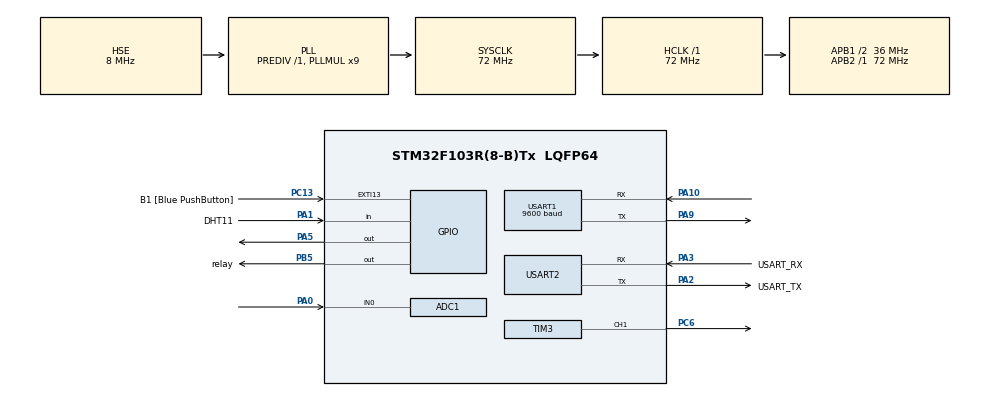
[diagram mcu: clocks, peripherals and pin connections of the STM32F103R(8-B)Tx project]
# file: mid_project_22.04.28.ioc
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ADC1.Channel-0\#ChannelRegularConversion=ADC_CHANNEL_0
ADC1.ContinuousConvMode=ENABLE
ADC1.NbrOfConversionFlag=1
ADC1.Rank-0\#ChannelRegularConversion=1
ADC1.SamplingTime-0\#ChannelRegularConversion=ADC_SAMPLETIME_28CYCLES_5
ADC1.master=1
Dma.Request0=TIM3_CH1/TRIG
Dma.TIM3_CH1/TRIG.0.Direction=DMA_MEMORY_TO_PERIPH
Dma.TIM3_CH1/TRIG.0.Instance=DMA1_Channel6
Dma.TIM3_CH1/TRIG.0.MemDataAlignment=DMA_MDATAALIGN_HALFWORD
Dma.TIM3_CH1/TRIG.0.MemInc=DMA_MINC_ENABLE
Dma.TIM3_CH1/TRIG.0.Mode=DMA_NORMAL
Dma.TIM3_CH1/TRIG.0.PeriphDataAlignment=DMA_PDATAALIGN_HALFWORD
Dma.TIM3_CH1/TRIG.0.PeriphInc=DMA_PINC_DISABLE
Dma.TIM3_CH1/TRIG.0.Priority=DMA_PRIORITY_LOW
Mcu.Family=STM32F1
Mcu.Name=STM32F103R(8-B)Tx
Mcu.Package=LQFP64
NVIC.ADC1_2_IRQn=true\:0\:0\:false\:false\:true\:true\:true\:true
NVIC.DMA1_Channel6_IRQn=true\:0\:0\:false\:false\:true\:false\:true\:true
NVIC.EXTI15_10_IRQn=true\:0\:0\:false\:false\:true\:true\:true\:true
NVIC.PriorityGroup=NVIC_PRIORITYGROUP_4
NVIC.TIM3_IRQn=true\:0\:0\:false\:false\:true\:true\:true\:true
NVIC.TIM4_IRQn=true\:0\:0\:false\:false\:true\:true\:true\:true
NVIC.USART1_IRQn=true\:0\:0\:false\:false\:true\:true\:true\:true
PA0-WKUP.Signal=ADCx_IN0
PA1.GPIO_Label=DHT11
PA1.GPIO_PuPd=GPIO_PULLUP
PA1.Signal=GPIO_Input
PA10.Mode=Asynchronous
PA10.Signal=USART1_RX
PA13.GPIO_Label=TMS
PA13.Mode=Serial_Wire
PA13.Signal=SYS_JTMS-SWDIO
PA14.GPIO_Label=TCK
PA14.Mode=Serial_Wire
PA14.Signal=SYS_JTCK-SWCLK
PA2.GPIO_Label=USART_TX
PA2.GPIO_Mode=GPIO_MODE_AF_PP
PA2.GPIO_PuPd=GPIO_NOPULL
PA2.GPIO_Speed=GPIO_SPEED_FREQ_LOW
PA2.Mode=Asynchronous
PA2.Signal=USART2_TX
PA3.GPIO_Label=USART_RX
PA3.GPIO_Mode=GPIO_MODE_AF_PP
PA3.GPIO_PuPd=GPIO_NOPULL
PA3.GPIO_Speed=GPIO_SPEED_FREQ_LOW
PA3.Mode=Asynchronous
PA3.Signal=USART2_RX
PA5.Signal=GPIO_Output
PA9.Mode=Asynchronous
PA9.Signal=USART1_TX
PB3.GPIO_Label=SWO
PB3.Signal=SYS_JTDO-TRACESWO
PB5.GPIO_Label=relay
PB5.Signal=GPIO_Output
PC13-TAMPER-RTC.GPIO_Label=B1 [Blue PushButton]
PC13-TAMPER-RTC.GPIO_PuPd=GPIO_NOPULL
PC13-TAMPER-RTC.Signal=GPXTI13
PC14-OSC32_IN.Mode=LSE-External-Oscillator
PC14-OSC32_IN.Signal=RCC_OSC32_IN
PC15-OSC32_OUT.Mode=LSE-External-Oscillator
PC15-OSC32_OUT.Signal=RCC_OSC32_OUT
PC6.Signal=S_TIM3_CH1
PD0-OSC_IN.Mode=HSE-External-Clock-Source
PD0-OSC_IN.Signal=RCC_OSC_IN
PD1-OSC_OUT.Mode=HSE-External-Clock-Source
PD1-OSC_OUT.Signal=RCC_OSC_OUT
ProjectManager.HeapSize=0x200
ProjectManager.StackSize=0x400
ProjectManager.TargetToolchain=STM32CubeIDE
RCC.ADCPresc=RCC_ADCPCLK2_DIV8
RCC.AHBFreq_Value=72000000
RCC.APB1CLKDivider=RCC_HCLK_DIV2
RCC.APB1Freq_Value=36000000
RCC.APB1TimFreq_Value=72000000
RCC.APB2Freq_Value=72000000
RCC.APB2TimFreq_Value=72000000
RCC.HCLKFreq_Value=72000000
RCC.PLLMUL=RCC_PLL_MUL9
RCC.PLLSourceVirtual=RCC_PLLSOURCE_HSE
RCC.RTCClockSelection=RCC_RTCCLKSOURCE_LSE
RCC.SYSCLKFreq_VALUE=72000000
RCC.SYSCLKSource=RCC_SYSCLKSOURCE_PLLCLK
RCC.USBFreq_Value=72000000
SH.ADCx_IN0.0=ADC1_IN0,IN0
SH.S_TIM3_CH1.0=TIM3_CH1,PWM Generation1 CH1
TIM2.Prescaler=71
TIM3.Channel-PWM\ Generation1\ CH1=TIM_CHANNEL_1
TIM3.Period=71
TIM3.Prescaler=0
TIM4.Period=10000-1
TIM4.Prescaler=7200-1
USART1.BaudRate=9600
USART1.VirtualMode=VM_ASYNC
USART2.VirtualMode=VM_ASYNC
VP_TIM2_VS_ClockSourceINT.Mode=Internal
VP_TIM3_VS_ClockSourceINT.Mode=Internal
VP_TIM4_VS_ClockSourceINT.Mode=Internal
board=NUCLEO-F103RB

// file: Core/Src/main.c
/* USER CODE BEGIN Header */
/**
  ******************************************************************************
  * @file           : main.c
  * @brief          : Main program body
  ******************************************************************************
  * @attention
  *
  * Copyright (c) 2022 STMicroelectronics.
  * All rights reserved.
  *
  * This software is licensed under terms that can be found in the LICENSE file
  * in the root directory of this software component.
  * If no LICENSE file comes with this software, it is provided AS-IS.
  *
  ******************************************************************************
  */
/* USER CODE END Header */
#include "main.h"

 ADC_HandleTypeDef hadc1;

TIM_HandleTypeDef htim2;
TIM_HandleTypeDef htim3;
TIM_HandleTypeDef htim4;
DMA_HandleTypeDef hdma_tim3_ch1_trig;

UART_HandleTypeDef huart1;
UART_HandleTypeDef huart2;

/* USER CODE BEGIN PV */

//set color map--------------------------------led
#define MAX_LED 21
#define USE_BRIGHTNESS 1
#define PI 3.14159265

uint16_t pwmData[(24 * MAX_LED) + 50];
uint8_t LED_Data[MAX_LED][4];
uint8_t LED_Mod[MAX_LED][4];

int datasentflag = 0;

//set nextion uart--------------------------------display
char Rxbuf[50];
char testbuf[50];
char testbuf2[50];

void SystemClock_Config(void);

//---------------------get data r g b sensor--------------------
int r = 0, g = 0, b = 0, r1 = 0, g1 = 0, b1 = 0, threshold = 40, status = 0,
		timer_counter = 0;
;

//------------------sensor variables ---------------------------
uint8_t Rh_byte1, Rh_byte2, Temp_byte1, Temp_byte2;
uint16_t SUM, RH, TEMP;

float Temperature = 0;
float Humidity = 0;
uint8_t Presence = 0;
uint32_t adcvalue;

int time_counter = 0;
/* USER CODE END PV */

void SystemClock_Config(void);
static void MX_GPIO_Init(void);
static void MX_USART2_UART_Init(void);
static void MX_DMA_Init(void);
static void MX_TIM2_Init(void);
static void MX_TIM3_Init(void);
static void MX_USART1_UART_Init(void);
static void MX_ADC1_Init(void);
static void MX_TIM4_Init(void);

/* USER CODE BEGIN 0 */
//--set uart to printf --------------------------------------------------------
#ifdef __GNUC__
/* With GCC, small printf (option LD Linker->Libraries->Small printf
 set to 'Yes') calls __io_putchar() */
#define PUTCHAR_PROTOTYPE int __io_putchar(int ch)
#else
#define PUTCHAR_PROTOTYPE int fputc(int ch, FILE *f)
#endif /* __GNUC__ */

PUTCHAR_PROTOTYPE {
	/* Place your implementation of fputc here */
	/* e.g. write a character to the USART1 and Loop until the end of transmission */
	HAL_UART_Transmit(&huart2, (uint8_t*) &ch, 1, 0xFFFF);

	return ch;
}

void delay(uint16_t time) {
	/* change your code here for the delay in microseconds */
	__HAL_TIM_SET_COUNTER(&htim2, 0);
	while ((__HAL_TIM_GET_COUNTER(&htim2)) < time)
		;
}

//----------------------------------set led data bit-----------------------------
//send done color set stop dma
void set_led(int LEDnum, int red, int green, int blue) {

	LED_Data[LEDnum][0] = LEDnum;
	LED_Data[LEDnum][1] = green;
	LED_Data[LEDnum][2] = red;
	LED_Data[LEDnum][3] = blue;

}

void Set_Brightness(int brightness)  // 0-45
{
#if USE_BRIGHTNESS

	if (brightness > 45)
		brightness = 45;
	for (int i = 0; i < MAX_LED; i++) {
		LED_Mod[i][0] = LED_Data[i][0];
		for (int j = 1; j < 4; j++) {
			float angle = 90 - brightness;  // in degrees
			angle = angle * PI / 180;  // in rad
			LED_Mod[i][j] = (LED_Data[i][j]) / (tan(angle));
		}
	}

#endif

}

//set color setting funcution
void WS2812_Send(void) {
	uint32_t indx = 0;
	uint32_t color;

	for (int i = 0; i < MAX_LED; i++) {
#if USE_BRIGHTNESS
		color =
				((LED_Mod[i][1] << 16) | (LED_Mod[i][2] << 8) | (LED_Mod[i][3]));
#else
		color = ((LED_Data[i][1] << 16) | (LED_Data[i][2] << 8)
				| (LED_Data[i][3]));
#endif

		for (int i = 23; i >= 0; i--) {
			if (color & (1 << i)) {
				pwmData[indx] = 60;  // 2/3 of 90
			}

			else
				pwmData[indx] = 30;  // 1/3 of 90

			indx++;
		}

	}

	for (int i = 0; i < 50; i++) {
		pwmData[indx] = 0;
		indx++;
	}

	HAL_TIM_PWM_Start_DMA(&htim3, TIM_CHANNEL_1, (uint32_t*) pwmData, indx);
	while (!datasentflag) {
	};
	datasentflag = 0;
}

//-----DHT ----function setting-------------------------
void Set_Pin_Output(GPIO_TypeDef *GPIOx, uint16_t GPIO_Pin) {
	GPIO_InitTypeDef GPIO_InitStruct = { 0 };
	GPIO_InitStruct.Pin = GPIO_Pin;
	GPIO_InitStruct.Mode = GPIO_MODE_OUTPUT_PP;
	GPIO_InitStruct.Speed = GPIO_SPEED_FREQ_LOW;
	HAL_GPIO_Init(GPIOx, &GPIO_InitStruct);
}

void Set_Pin_Input(GPIO_TypeDef *GPIOx, uint16_t GPIO_Pin) {
	GPIO_InitTypeDef GPIO_InitStruct = { 0 };
	GPIO_InitStruct.Pin = GPIO_Pin;
	GPIO_InitStruct.Mode = GPIO_MODE_INPUT;
	GPIO_InitStruct.Pull = GPIO_PULLUP;
	HAL_GPIO_Init(GPIOx, &GPIO_InitStruct);
}

/*********************************** DHT11 FUNCTIONS ********************************************/

#define DHT11_PORT GPIOA
#define DHT11_PIN GPIO_PIN_1

void DHT11_Start(void) {
	Set_Pin_Output(DHT11_PORT, DHT11_PIN);  // set the pin as output
	HAL_GPIO_WritePin(DHT11_PORT, DHT11_PIN, 0);   // pull the pin low
	delay(18000);   // wait for 18ms
	HAL_GPIO_WritePin(DHT11_PORT, DHT11_PIN, 1);   // pull the pin high
	delay(20);   // wait for 20us
	Set_Pin_Input(DHT11_PORT, DHT11_PIN);    // set as input
}

uint8_t DHT11_Check_Response(void) {
	uint8_t Response = 0;
	delay(40);
	if (!(HAL_GPIO_ReadPin(DHT11_PORT, DHT11_PIN))) {
		delay(80);
		if ((HAL_GPIO_ReadPin(DHT11_PORT, DHT11_PIN)))
			Response = 1;
		else
			Response = -1; // 255
	}
	while ((HAL_GPIO_ReadPin(DHT11_PORT, DHT11_PIN)))
		;   // wait for the pin to go low

	return Response;
}

uint8_t DHT11_Read(void) {
	uint8_t i, j;
	for (j = 0; j < 8; j++) {
		while (!(HAL_GPIO_ReadPin(DHT11_PORT, DHT11_PIN)))
			;   // wait for the pin to go high
		delay(40);   // wait for 40 us
		if (!(HAL_GPIO_ReadPin(DHT11_PORT, DHT11_PIN)))   // if the pin is low
		{
			i &= ~(1 << (7 - j));   // write 0
		} else
			i |= (1 << (7 - j));  // if the pin is high, write 1
		while ((HAL_GPIO_ReadPin(DHT11_PORT, DHT11_PIN)))
			;  // wait for the pin to go low
	}
	return i;
}
/* USER CODE END 0 */

int main(void)
{

  /* MCU Configuration--------------------------------------------------------*/

  /* Reset of all peripherals, Initializes the Flash interface and the Systick. */
  HAL_Init();

  /* Configure the system clock */
  SystemClock_Config();

  /* Initialize all configured peripherals */
  MX_GPIO_Init();
  MX_USART2_UART_Init();
  MX_DMA_Init();
  MX_TIM2_Init();
  MX_TIM3_Init();
  MX_USART1_UART_Init();
  MX_ADC1_Init();
  MX_TIM4_Init();
  /* USER CODE BEGIN 2 */
	for (int i = 0; i < MAX_LED; i++) {
		Set_Brightness(150);
		set_led(i, 0, 0, 0);
		WS2812_Send();
		HAL_Delay(100);
	}
	HAL_Delay(1000);

	for (int i = 12; i < MAX_LED; i++) {
		Set_Brightness(255);
		set_led(i, 240, 20, 110);
		WS2812_Send();
		HAL_Delay(10);
	}

	color_plant();

	HAL_Delay(1000);
	printf("test start \r\n");
	HAL_UART_Receive_IT(&huart1, (uint8_t*) Rxbuf, 3);
	HAL_ADC_Start_IT(&hadc1);		//ADC
	HAL_TIM_Base_Start(&htim2);  //timer
	HAL_TIM_Base_Start_IT(&htim4);

  /* USER CODE END 2 */

  /* Infinite loop */
  while (1)
  {

    /* USER CODE BEGIN 3 */
		color_swap(r, g, b);

  }
  /* USER CODE END 3 */
}

void SystemClock_Config(void)
{
  RCC_OscInitTypeDef RCC_OscInitStruct = {0};
  RCC_ClkInitTypeDef RCC_ClkInitStruct = {0};
  RCC_PeriphCLKInitTypeDef PeriphClkInit = {0};

  /** Initializes the RCC Oscillators according to the specified parameters
  * in the RCC_OscInitTypeDef structure.
  */
  RCC_OscInitStruct.OscillatorType = RCC_OSCILLATORTYPE_HSE;
  RCC_OscInitStruct.HSEState = RCC_HSE_BYPASS;
  RCC_OscInitStruct.HSEPredivValue = RCC_HSE_PREDIV_DIV1;
  RCC_OscInitStruct.HSIState = RCC_HSI_ON;
  RCC_OscInitStruct.PLL.PLLState = RCC_PLL_ON;
  RCC_OscInitStruct.PLL.PLLSource = RCC_PLLSOURCE_HSE;
  RCC_OscInitStruct.PLL.PLLMUL = RCC_PLL_MUL9;
  if (HAL_RCC_OscConfig(&RCC_OscInitStruct) != HAL_OK)
  {
    Error_Handler();
  }

  /** Initializes the CPU, AHB and APB buses clocks
  */
  RCC_ClkInitStruct.ClockType = RCC_CLOCKTYPE_HCLK|RCC_CLOCKTYPE_SYSCLK
                              |RCC_CLOCKTYPE_PCLK1|RCC_CLOCKTYPE_PCLK2;
  RCC_ClkInitStruct.SYSCLKSource = RCC_SYSCLKSOURCE_PLLCLK;
  RCC_ClkInitStruct.AHBCLKDivider = RCC_SYSCLK_DIV1;
  RCC_ClkInitStruct.APB1CLKDivider = RCC_HCLK_DIV2;
  RCC_ClkInitStruct.APB2CLKDivider = RCC_HCLK_DIV1;

  if (HAL_RCC_ClockConfig(&RCC_ClkInitStruct, FLASH_LATENCY_2) != HAL_OK)
  {
    Error_Handler();
  }
  PeriphClkInit.PeriphClockSelection = RCC_PERIPHCLK_ADC;
  PeriphClkInit.AdcClockSelection = RCC_ADCPCLK2_DIV8;
  if (HAL_RCCEx_PeriphCLKConfig(&PeriphClkInit) != HAL_OK)
  {
    Error_Handler();
  }
}

static void MX_ADC1_Init(void)
{

  ADC_ChannelConfTypeDef sConfig = {0};

  /** Common config
  */
  hadc1.Instance = ADC1;
  hadc1.Init.ScanConvMode = ADC_SCAN_DISABLE;
  hadc1.Init.ContinuousConvMode = ENABLE;
  hadc1.Init.DiscontinuousConvMode = DISABLE;
  hadc1.Init.ExternalTrigConv = ADC_SOFTWARE_START;
  hadc1.Init.DataAlign = ADC_DATAALIGN_RIGHT;
  hadc1.Init.NbrOfConversion = 1;
  if (HAL_ADC_Init(&hadc1) != HAL_OK)
  {
    Error_Handler();
  }

  /** Configure Regular Channel
  */
  sConfig.Channel = ADC_CHANNEL_0;
  sConfig.Rank = ADC_REGULAR_RANK_1;
  sConfig.SamplingTime = ADC_SAMPLETIME_28CYCLES_5;
  if (HAL_ADC_ConfigChannel(&hadc1, &sConfig) != HAL_OK)
  {
    Error_Handler();
  }

}

static void MX_TIM2_Init(void)
{

  TIM_ClockConfigTypeDef sClockSourceConfig = {0};
  TIM_MasterConfigTypeDef sMasterConfig = {0};

  htim2.Instance = TIM2;
  htim2.Init.Prescaler = 71;
  htim2.Init.CounterMode = TIM_COUNTERMODE_UP;
  htim2.Init.Period = 65535;
  htim2.Init.ClockDivision = TIM_CLOCKDIVISION_DIV1;
  htim2.Init.AutoReloadPreload = TIM_AUTORELOAD_PRELOAD_DISABLE;
  if (HAL_TIM_Base_Init(&htim2) != HAL_OK)
  {
    Error_Handler();
  }
  sClockSourceConfig.ClockSource = TIM_CLOCKSOURCE_INTERNAL;
  if (HAL_TIM_ConfigClockSource(&htim2, &sClockSourceConfig) != HAL_OK)
  {
    Error_Handler();
  }
  sMasterConfig.MasterOutputTrigger = TIM_TRGO_RESET;
  sMasterConfig.MasterSlaveMode = TIM_MASTERSLAVEMODE_DISABLE;
  if (HAL_TIMEx_MasterConfigSynchronization(&htim2, &sMasterConfig) != HAL_OK)
  {
    Error_Handler();
  }

}

static void MX_TIM3_Init(void)
{

  TIM_ClockConfigTypeDef sClockSourceConfig = {0};
  TIM_MasterConfigTypeDef sMasterConfig = {0};
  TIM_OC_InitTypeDef sConfigOC = {0};

  htim3.Instance = TIM3;
  htim3.Init.Prescaler = 0;
  htim3.Init.CounterMode = TIM_COUNTERMODE_UP;
  htim3.Init.Period = 71;
  htim3.Init.ClockDivision = TIM_CLOCKDIVISION_DIV1;
  htim3.Init.AutoReloadPreload = TIM_AUTORELOAD_PRELOAD_DISABLE;
  if (HAL_TIM_Base_Init(&htim3) != HAL_OK)
  {
    Error_Handler();
  }
  sClockSourceConfig.ClockSource = TIM_CLOCKSOURCE_INTERNAL;
  if (HAL_TIM_ConfigClockSource(&htim3, &sClockSourceConfig) != HAL_OK)
  {
    Error_Handler();
  }
  if (HAL_TIM_PWM_Init(&htim3) != HAL_OK)
  {
    Error_Handler();
  }
  sMasterConfig.MasterOutputTrigger = TIM_TRGO_RESET;
  sMasterConfig.MasterSlaveMode = TIM_MASTERSLAVEMODE_DISABLE;
  if (HAL_TIMEx_MasterConfigSynchronization(&htim3, &sMasterConfig) != HAL_OK)
  {
    Error_Handler();
  }
  sConfigOC.OCMode = TIM_OCMODE_PWM1;
  sConfigOC.Pulse = 0;
  sConfigOC.OCPolarity = TIM_OCPOLARITY_HIGH;
  sConfigOC.OCFastMode = TIM_OCFAST_DISABLE;
  if (HAL_TIM_PWM_ConfigChannel(&htim3, &sConfigOC, TIM_CHANNEL_1) != HAL_OK)
  {
    Error_Handler();
  }
  HAL_TIM_MspPostInit(&htim3);

}

static void MX_TIM4_Init(void)
{

  TIM_ClockConfigTypeDef sClockSourceConfig = {0};
  TIM_MasterConfigTypeDef sMasterConfig = {0};

  htim4.Instance = TIM4;
  htim4.Init.Prescaler = 7200-1;
  htim4.Init.CounterMode = TIM_COUNTERMODE_UP;
  htim4.Init.Period = 10000-1;
  htim4.Init.ClockDivision = TIM_CLOCKDIVISION_DIV1;
  htim4.Init.AutoReloadPreload = TIM_AUTORELOAD_PRELOAD_DISABLE;
  if (HAL_TIM_Base_Init(&htim4) != HAL_OK)
  {
    Error_Handler();
  }
  sClockSourceConfig.ClockSource = TIM_CLOCKSOURCE_INTERNAL;
  if (HAL_TIM_ConfigClockSource(&htim4, &sClockSourceConfig) != HAL_OK)
  {
    Error_Handler();
  }
  sMasterConfig.MasterOutputTrigger = TIM_TRGO_RESET;
  sMasterConfig.MasterSlaveMode = TIM_MASTERSLAVEMODE_DISABLE;
  if (HAL_TIMEx_MasterConfigSynchronization(&htim4, &sMasterConfig) != HAL_OK)
  {
    Error_Handler();
  }

}

static void MX_USART1_UART_Init(void)
{

  huart1.Instance = USART1;
  huart1.Init.BaudRate = 9600;
  huart1.Init.WordLength = UART_WORDLENGTH_8B;
  huart1.Init.StopBits = UART_STOPBITS_1;
  huart1.Init.Parity = UART_PARITY_NONE;
  huart1.Init.Mode = UART_MODE_TX_RX;
  huart1.Init.HwFlowCtl = UART_HWCONTROL_NONE;
  huart1.Init.OverSampling = UART_OVERSAMPLING_16;
  if (HAL_UART_Init(&huart1) != HAL_OK)
  {
    Error_Handler();
  }

}

static void MX_USART2_UART_Init(void)
{

  huart2.Instance = USART2;
  huart2.Init.BaudRate = 115200;
  huart2.Init.WordLength = UART_WORDLENGTH_8B;
  huart2.Init.StopBits = UART_STOPBITS_1;
  huart2.Init.Parity = UART_PARITY_NONE;
  huart2.Init.Mode = UART_MODE_TX_RX;
  huart2.Init.HwFlowCtl = UART_HWCONTROL_NONE;
  huart2.Init.OverSampling = UART_OVERSAMPLING_16;
  if (HAL_UART_Init(&huart2) != HAL_OK)
  {
    Error_Handler();
  }

}

static void MX_DMA_Init(void)
{

  /* DMA controller clock enable */
  __HAL_RCC_DMA1_CLK_ENABLE();

  /* DMA interrupt init */
  /* DMA1_Channel6_IRQn interrupt configuration */
  HAL_NVIC_SetPriority(DMA1_Channel6_IRQn, 0, 0);
  HAL_NVIC_EnableIRQ(DMA1_Channel6_IRQn);

}

static void MX_GPIO_Init(void)
{
  GPIO_InitTypeDef GPIO_InitStruct = {0};

  /* GPIO Ports Clock Enable */
  __HAL_RCC_GPIOC_CLK_ENABLE();
  __HAL_RCC_GPIOD_CLK_ENABLE();
  __HAL_RCC_GPIOA_CLK_ENABLE();
  __HAL_RCC_GPIOB_CLK_ENABLE();

  /*Configure GPIO pin Output Level */
  HAL_GPIO_WritePin(GPIOA, GPIO_PIN_5, GPIO_PIN_RESET);

  /*Configure GPIO pin Output Level */
  HAL_GPIO_WritePin(relay_GPIO_Port, relay_Pin, GPIO_PIN_RESET);

  /*Configure GPIO pin : B1_Pin */
  GPIO_InitStruct.Pin = B1_Pin;
  GPIO_InitStruct.Mode = GPIO_MODE_IT_RISING;
  GPIO_InitStruct.Pull = GPIO_NOPULL;
  HAL_GPIO_Init(B1_GPIO_Port, &GPIO_InitStruct);

  /*Configure GPIO pin : DHT11_Pin */
  GPIO_InitStruct.Pin = DHT11_Pin;
  GPIO_InitStruct.Mode = GPIO_MODE_INPUT;
  GPIO_InitStruct.Pull = GPIO_PULLUP;
  HAL_GPIO_Init(DHT11_GPIO_Port, &GPIO_InitStruct);

  /*Configure GPIO pin : PA5 */
  GPIO_InitStruct.Pin = GPIO_PIN_5;
  GPIO_InitStruct.Mode = GPIO_MODE_OUTPUT_PP;
  GPIO_InitStruct.Pull = GPIO_NOPULL;
  GPIO_InitStruct.Speed = GPIO_SPEED_FREQ_LOW;
  HAL_GPIO_Init(GPIOA, &GPIO_InitStruct);

  /*Configure GPIO pin : relay_Pin */
  GPIO_InitStruct.Pin = relay_Pin;
  GPIO_InitStruct.Mode = GPIO_MODE_OUTPUT_PP;
  GPIO_InitStruct.Pull = GPIO_NOPULL;
  GPIO_InitStruct.Speed = GPIO_SPEED_FREQ_LOW;
  HAL_GPIO_Init(relay_GPIO_Port, &GPIO_InitStruct);

  /* EXTI interrupt init*/
  HAL_NVIC_SetPriority(EXTI15_10_IRQn, 0, 0);
  HAL_NVIC_EnableIRQ(EXTI15_10_IRQn);

}

/* USER CODE BEGIN 4 */

//---------------------------neopixel function-------------------------------

void HAL_TIM_PWM_PulseFinishedCallback(TIM_HandleTypeDef *htim) {
	HAL_TIM_PWM_Stop_DMA(&htim3, TIM_CHANNEL_1);
	datasentflag = 1;
}

void color_swap(int r, int g, int b) {
	if (r != r1 || g != g1 || b != b1) {
		r1 = r;
		g1 = g;
		b1 = b;
		for (int i = 0; i < 12; i++) {
			Set_Brightness(150);
			set_led(i, r, g, b);
			WS2812_Send();
			HAL_Delay(10);
		}
		//color_plant();
	}

}

//plant led on
void color_plant() {

	for (int i = 12; i < MAX_LED; i++) {
		Set_Brightness(255);
		set_led(i, 240, 20, 110);
		WS2812_Send();
		HAL_Delay(10);
	}
}

//-------------------------------nextion function----------------------------
void HAL_UART_RxCpltCallback(UART_HandleTypeDef *huart) {  //344

	HAL_UART_Receive_IT(&huart1, (uint8_t*) Rxbuf, 4);
//	HAL_UART_Transmit(&huart2, (uint8_t*) Rxbuf, 4, 0xFFFF);

	for (int i = 0; i < 3; i++) {	//check_date
		printf("%d : %c \n\r", i, (char*) Rxbuf[i]);
	}

	if (Rxbuf[1] == 'R') {
		sprintf(testbuf2, "%d", (int*) Rxbuf[3]);
		printf("3 : %d \n\r", (int*) Rxbuf[3]);
		r = (int*) Rxbuf[3];
	}
	if (Rxbuf[1] == 'G') {
		sprintf(testbuf2, "%d", (int*) Rxbuf[3]);
		printf("3 : %d \n\r", (int*) Rxbuf[3]);
		g = (int*) Rxbuf[3];
	}
	if (Rxbuf[1] == 'B') {
		sprintf(testbuf2, "%d", (int*) Rxbuf[3]);
		printf("3 : %d \n\r", (int*) Rxbuf[3]);
		b = (int*) Rxbuf[3];
	}

	if (Rxbuf[1] == 'W') {
		sprintf(testbuf2, "%d", (int*) Rxbuf[3]);
		printf("3 : %d \n\r", (int*) Rxbuf[3]);
		threshold = (int*) Rxbuf[3];
	}

	if (Rxbuf[0] == 'e' || Rxbuf[1] == 'e') {
		if (status == 0) {
			status = 1;
		} else {
			status = 0;
		}
	}

	printf("\n\r");
	memset(Rxbuf, 0, sizeof(Rxbuf));

}

void Nextion_Send(char *Id, char *String) {
	uint8_t Cmd_End[3] = { 0xFF, 0xFF, 0xFF };
	char buf[50];
	int len = sprintf(buf, "%s.txt=\"%s\"", Id, String);
	HAL_UART_Transmit(&huart1, (uint8_t*) buf, len, 1000);
	HAL_UART_Transmit(&huart1, Cmd_End, sizeof(Cmd_End), 1000);
}

long map(long x, long in_min, long in_max, long out_min, long out_max) {
	return (x - in_min) * (out_max - out_min) / (in_max - in_min) + out_min;
}
//-------get adc it -----------------------------------------------
void HAL_ADC_ConvCpltCallback(ADC_HandleTypeDef *hadc) {
	adcvalue = (uint32_t) HAL_ADC_GetValue(&hadc1); 		//ADC
	adcvalue = map(adcvalue, 0, 4096, 0, 100);
	if (adcvalue > threshold) {
		HAL_GPIO_WritePin(GPIOB, GPIO_PIN_5, GPIO_PIN_RESET);		//off
	} else {
		HAL_GPIO_WritePin(GPIOB, GPIO_PIN_5, GPIO_PIN_SET);		//on
	}
}
void HAL_TIM_PeriodElapsedCallback(TIM_HandleTypeDef *htim) {
//	printf("start_timer_intrrupt\r\n"); //2sec
	time_counter++;

	if (time_counter == 2) { // 2 = 2sec
		printf("start_timer_intrrupt\r\n");

//		adcvalue = (uint32_t) HAL_ADC_GetValue(&hadc1); 		//ADC

		DHT11_Start();
		Presence = DHT11_Check_Response();
		Rh_byte1 = DHT11_Read();
		Rh_byte2 = DHT11_Read();
		Temp_byte1 = DHT11_Read();
		Temp_byte2 = DHT11_Read();
		SUM = DHT11_Read();

		TEMP = Temp_byte1;
		RH = Rh_byte1;

		Temperature = (float) TEMP;
		Humidity = (float) RH;
		time_counter = 0;

		printf("Temperature : %.0f Humidity : %.0f\r\n", Temperature, Humidity);

		printf("adc : %d \r\n", adcvalue);

		printf("r : %d, g : %d, b : %d threshold : %d, status : %d \r\n", r, g,
				b, threshold, status);

		if (status == 0) {
			char test_buffer[30];
			sprintf(test_buffer, "%d %%", adcvalue);
			Nextion_Send("t5", test_buffer);

			sprintf(test_buffer, "%.1f %% ", Humidity);
			Nextion_Send("t4", test_buffer);

			sprintf(test_buffer, "%.1f C", Temperature);
			Nextion_Send("t3", test_buffer);
		}

	}

}

/* USER CODE END 4 */

void Error_Handler(void)
{
  __disable_irq();
  while (1)
  {
  }
}
